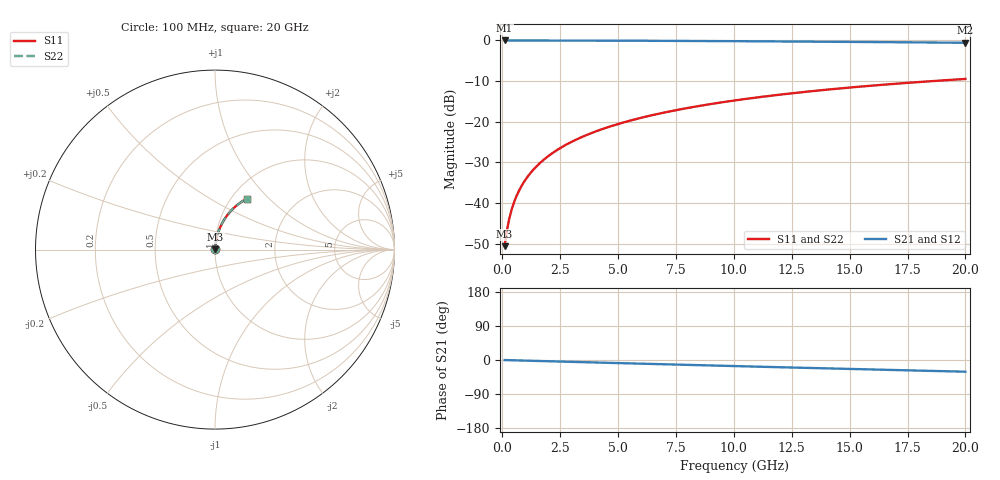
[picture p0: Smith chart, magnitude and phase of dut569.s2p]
! Touchstone file exported from HFSS 2026.1.0
!  File:  C:/ffzhzh/LocalFiles/Ansys_Project_Files/temp_train_BSMRDL_569_1783015495_53980.aedt
!  Generated:  02:06:21 AM Jul  3, 2026
!  Design:  BSMRDL
!  Project:  temp_train_BSMRDL_569_1783015495_53980
! Variables:
!  h_bsmrdl = 3.12um
!  h_ox = 20um
!  h_rdl = 5um
!  h_sub = 80um
!  h_tmrdl = 5um
!  h_tsv = 80um
!  h_via = 3um
!  l_bsmrdl = 382.36um
!  l_sub = 782.36um
!  l_tmrdl = 200um
!  m_sub = 200um
!  pitch = 59.73um
!  r_tsv = 6um
!  s_tmrdl = 10um
!  w_bsmrdl = 23.04um
!  w_sub = 500um
!  w_tmrdl = 12um
!  x_tsv_center1 = 206um
!  x_tsv_center2 = 611.4um
!  x_tsv_center3 = 823.4um
!  x_tsv_center4 = 1228.8um
!  x_tsv_center5 = 1440.8um
!  x_tsv_center6 = 1846.2um
# GHz S MA R 50.000000
! Terminal data exported
! Port[1] = BSM_RDL1_1_T1
! Port[2] = BSM_RDL1_1_T2
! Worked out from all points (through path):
!   200 points, 100 MHz to 20 GHz, reference 50 ohm
!   highest |S21| = -0.02 dB at 100 MHz (marker M1); lowest = -0.6 dB at 20 GHz (marker M2)
!   group delay of S21, straight-line fit = 4.29 ps
!   lowest |S11| = -50.7 dB at 100 MHz (marker M3), VSWR 1.01, Z = 50.2 + j0.202 ohm
!   |S11| at or under -10 dB: start of sweep to 18.62 GHz
!   |S22| runs from -50.7 to -9.5 dB; largest |S21 - S12| = 2.7e-15
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0.1  0.002934 43.4  0.9979 -0.2  0.9979 -0.2  0.002934 43.4
! Gamma 0 0 0 0
! Port Impedance 50 0 50 0
0.2  0.004574 60.9  0.9978 -0.3  0.9978 -0.3  0.004574 60.9
0.3  0.006376 68.4  0.9977 -0.5  0.9977 -0.5  0.006376 68.4
0.4  0.008206 72.5  0.9976 -0.7  0.9976 -0.7  0.008206 72.5
0.5  0.01004 75.0  0.9975 -0.8  0.9975 -0.8  0.01004 75.0
0.6  0.01188 76.8  0.9974 -1.0  0.9974 -1.0  0.01188 76.8
0.8  0.01557 79.1  0.9973 -1.3  0.9973 -1.3  0.01557 79.1
1.1  0.02113 80.9  0.9971 -1.8  0.9971 -1.8  0.02113 80.9
1.5  0.02859 82.0  0.9969 -2.5  0.9969 -2.5  0.02859 82.0
1.8  0.03419 82.4  0.9966 -3.0  0.9966 -3.0  0.03419 82.4
2.1  0.03979 82.4  0.9964 -3.4  0.9964 -3.4  0.03979 82.4
2.7  0.05099 82.2  0.9957 -4.4  0.9957 -4.4  0.05099 82.2
3.5  0.06586 81.5  0.9947 -5.7  0.9947 -5.7  0.06586 81.5
4.2  0.0788 80.7  0.9935 -6.8  0.9935 -6.8  0.0788 80.7
5  0.09347 79.6  0.992 -8.1  0.992 -8.1  0.09347 79.6
5.9  0.1098 78.4  0.99 -9.6  0.99 -9.6  0.1098 78.4
6.8  0.126 77.1  0.9878 -11.0  0.9878 -11.0  0.126 77.1
8.3  0.1524 74.8  0.9836 -13.4  0.9836 -13.4  0.1524 74.8
10.1  0.1834 72.2  0.9778 -16.2  0.9778 -16.2  0.1834 72.2
13.4  0.2377 67.3  0.9652 -21.2  0.9652 -21.2  0.2377 67.3
16.7  0.2884 62.5  0.9507 -26.1  0.9507 -26.1  0.2884 62.5
20  0.3354 57.9  0.9347 -30.9  0.9347 -30.9  0.3354 57.9
